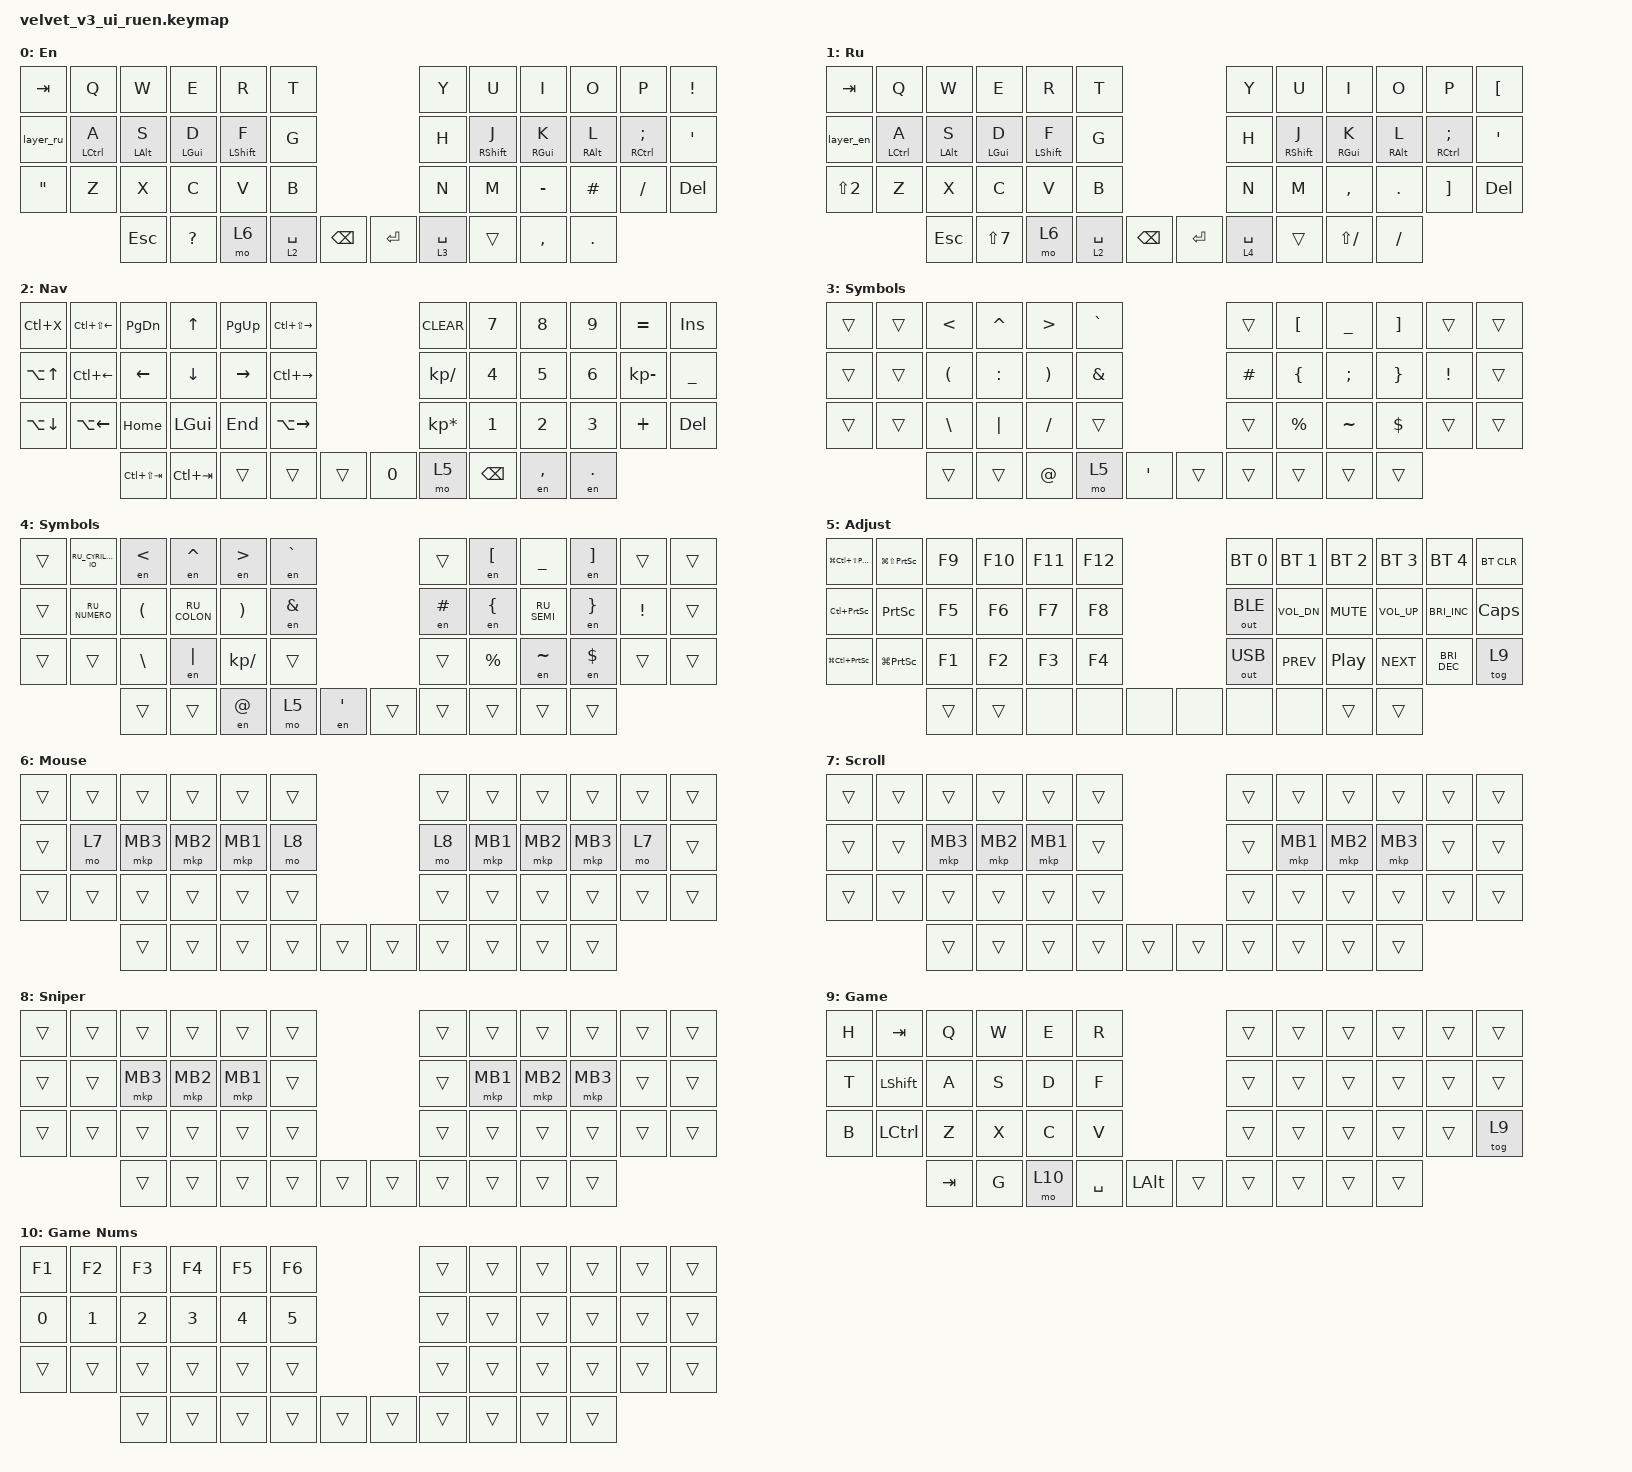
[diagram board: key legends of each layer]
#include "keys_ru.h"
#include <dt-bindings/zmk/input_transform.h>
#include <input/processors.dtsi>
#include <zephyr/dt-bindings/input/input-event-codes.h>
#include <behaviors.dtsi>
#include <dt-bindings/zmk/bt.h>
#include <dt-bindings/zmk/keys.h>
#include <dt-bindings/zmk/outputs.h>
#include <dt-bindings/zmk/pointing.h>

/ {
    behaviors {
        cap_sen: cap_sen {
            compatible = "zmk,behavior-hold-tap";
            label = "CAP_SEN";
            bindings = <&mo>, <&mkp>;

            #binding-cells = <2>;
            tapping-term-ms = <150>;
            hold-while-undecided;
        };

        mouse_layer: mouse_layer {
            compatible = "zmk,behavior-sticky-key";
            label = "MOUSE_LAYER";
            bindings = <&mo>;
            #binding-cells = <1>;
            release-after-ms = <200>;
        };

        hrm: hrm {
            compatible = "zmk,behavior-hold-tap";
            label = "HRM";
            bindings = <&kp>, <&kp>;

            #binding-cells = <2>;
            tapping-term-ms = <200>;
            flavor = "balanced";
            require-prior-idle-ms = <0>;
        };

        scroll: scroll {
            compatible = "zmk,behavior-hold-tap";
            label = "SCROLL";
            bindings = <&mo>, <&tog>;

            #binding-cells = <2>;
            tapping-term-ms = <180>;
            flavor = "tap-preferred";
        };

        mok: mok {
            compatible = "zmk,behavior-hold-tap";
            label = "MOK";
            bindings = <&mo>, <&kp>;

            #binding-cells = <2>;
            tapping-term-ms = <200>;
            flavor = "balanced";
            require-prior-idle-ms = <0>;
        };

        modC: modC {
            compatible = "zmk,behavior-mod-morph";
            label = "MODC";
            bindings = <&kp RU_CYRILLIC_ES>, <&en C>;

            #binding-cells = <0>;
            mods = <(MOD_LCTL|MOD_LSFT|MOD_LALT|MOD_LGUI|MOD_RCTL|MOD_RSFT|MOD_RALT|MOD_RGUI)>;
            keep-mods = <(MOD_LCTL|MOD_LALT|MOD_LSFT|MOD_RCTL|MOD_LGUI|MOD_RSFT|MOD_RALT|MOD_RGUI)>;
        };

        modV: modV {
            compatible = "zmk,behavior-mod-morph";
            label = "MODV";
            bindings = <&kp RU_CYRILLIC_EM>, <&en LC(V)>;

            #binding-cells = <0>;
            mods = <(MOD_LCTL|MOD_LSFT|MOD_LALT|MOD_LGUI|MOD_RCTL|MOD_RSFT|MOD_RALT|MOD_RGUI)>;
        };

        hrmlctrlru: hrmlctrlru {
            compatible = "zmk,behavior-hold-tap";
            label = "HRMLCTRLRU";
            #binding-cells = <2>;
            tapping-term-ms = <200>;
            flavor = "balanced";
            bindings = <&lctrlru>, <&kp>;

            require-prior-idle-ms = <0>;
        };

        hrmlaltru: hrmlaltru {
            compatible = "zmk,behavior-hold-tap";
            label = "HRMLALTRU";
            #binding-cells = <2>;
            tapping-term-ms = <200>;
            flavor = "balanced";
            bindings = <&laltru>, <&kp>;

            require-prior-idle-ms = <0>;
        };

        hrmlguiru: hrmlguiru {
            compatible = "zmk,behavior-hold-tap";
            label = "HRMLGUIRU";
            #binding-cells = <2>;
            tapping-term-ms = <200>;
            flavor = "balanced";
            bindings = <&lguiru>, <&kp>;

            require-prior-idle-ms = <0>;
        };

        hrmlshiftru: hrmlshiftru {
            compatible = "zmk,behavior-hold-tap";
            label = "HRMLSHIFTRU";
            #binding-cells = <2>;
            tapping-term-ms = <200>;
            flavor = "balanced";
            bindings = <&lshiftru>, <&kp>;

            require-prior-idle-ms = <0>;
        };

        zip_auto_mouse: zip_auto_mouse {
            compatible = "zmk,input-processor-temp-layer";
            #input-processor-cells = <2>;
            require-prior-idle-ms = <0>;
            excluded-positions = <>;
        };
    };

    combos { compatible = "zmk,combos"; };

    macros {
        to_ru: to_ru {
            compatible = "zmk,behavior-macro";
            #binding-cells = <0>;
            bindings = <&kp LS(LA(NUMBER_2))>;
            label = "TO_RU";
            wait-ms = <0>;
            tap-ms = <30>;
        };

        to_en: to_en {
            compatible = "zmk,behavior-macro";
            #binding-cells = <0>;
            bindings = <&kp LS(LA(NUMBER_1))>;
            label = "TO_EN";
            wait-ms = <0>;
            tap-ms = <30>;
        };

        layer_en: layer_en {
            compatible = "zmk,behavior-macro";
            #binding-cells = <0>;
            bindings = <&to 0 &to_en>;
            label = "LAYER_EN";
            wait-ms = <0>;
            tap-ms = <30>;
        };

        layer_ru: layer_ru {
            compatible = "zmk,behavior-macro";
            #binding-cells = <0>;
            bindings = <&to 1 &to_ru>;
            label = "LAYER_RU";
            tap-ms = <30>;
            wait-ms = <0>;
        };

        en: en {
            compatible = "zmk,behavior-macro-one-param";
            #binding-cells = <1>;
            bindings =
                <&to_en>,
                <&macro_press>,
                <&macro_param_1to1 &kp MACRO_PLACEHOLDER>,
                <&macro_pause_for_release>,
                <&macro_release>,
                <&macro_param_1to1 &kp MACRO_PLACEHOLDER>,
                <&macro_tap>,
                <&to_ru>;

            label = "EN";
            wait-ms = <0>;
            tap-ms = <30>;
        };

        lctrlru: modru {
            compatible = "zmk,behavior-macro";
            #binding-cells = <0>;
            bindings =
                <&to_en>,
                <&macro_press>,
                <&kp LEFT_CONTROL>,
                <&macro_pause_for_release>,
                <&macro_release>,
                <&kp LEFT_CONTROL>,
                <&macro_tap>,
                <&to_ru>;

            label = "MODRU";
        };

        laltru: laltru {
            compatible = "zmk,behavior-macro";
            #binding-cells = <0>;
            bindings =
                <&to_en>,
                <&macro_press>,
                <&kp LEFT_ALT>,
                <&macro_pause_for_release>,
                <&macro_release>,
                <&kp LEFT_ALT>,
                <&macro_tap>,
                <&to_ru>;

            label = "LALTRU";
        };

        lguiru: lguiru {
            compatible = "zmk,behavior-macro";
            #binding-cells = <0>;
            bindings =
                <&to_en>,
                <&macro_press>,
                <&kp LEFT_GUI>,
                <&macro_pause_for_release>,
                <&macro_release>,
                <&kp LEFT_GUI>,
                <&macro_tap>,
                <&to_ru>;

            label = "LGUIRU";
        };

        lshiftru: lshiftru {
            compatible = "zmk,behavior-macro";
            #binding-cells = <0>;
            bindings =
                <&to_en>,
                <&macro_press>,
                <&kp LEFT_SHIFT>,
                <&macro_pause_for_release>,
                <&macro_release>,
                <&kp LEFT_SHIFT>,
                <&macro_tap>,
                <&to_ru>;

            label = "LSHIFTRU";
        };
    };

    keymap {
        compatible = "zmk,keymap";

        en {
            bindings = <
&kp TAB    &kp Q         &kp W        &kp E         &kp R              &kp T                                      &kp Y         &kp U               &kp I        &kp O        &kp P            &kp EXCLAMATION
&layer_ru  &hrm LCTRL A  &hrm LALT S  &hrm LGUI D   &hrm LEFT_SHIFT F  &kp G                                      &kp H         &hrm RIGHT_SHIFT J  &hrm RGUI K  &hrm RALT L  &hrm RCTRL SEMI  &kp SQT
&kp DQT    &kp Z         &kp X        &kp C         &kp V              &kp B                                      &kp N         &kp M               &kp MINUS    &kp HASH     &kp SLASH        &kp DELETE
                         &kp ESC      &kp QUESTION  &mo 6              &mok 2 SPACE  &kp BACKSPACE    &kp RETURN  &mok 3 SPACE  &trans              &kp COMMA    &kp DOT
            >;

            display-name = "En";
        };

        ru {
            display-name = "Ru";
            bindings = <
&kp TAB           &kp Q         &kp W            &kp E             &kp R              &kp T                                      &kp Y         &kp U               &kp I             &kp O             &kp P              &kp LEFT_BRACKET
&layer_en         &hrm LCTRL A  &hrm LEFT_ALT S  &hrm LEFT_GUI D   &hrm LEFT_SHIFT F  &kp G                                      &kp H         &hrm RIGHT_SHIFT J  &hrm RIGHT_GUI K  &hrm RIGHT_ALT L  &hrm RCTRL SEMI    &kp SQT
&kp LS(NUMBER_2)  &kp Z         &kp X            &kp C             &kp V              &kp B                                      &kp N         &kp M               &kp COMMA         &kp DOT           &kp RIGHT_BRACKET  &kp DELETE
                                &kp ESC          &kp LS(NUMBER_7)  &mo 6              &mok 2 SPACE  &kp BACKSPACE    &kp RETURN  &mok 4 SPACE  &trans              &kp LS(SLASH)     &kp SLASH
            >;
        };

        nav {
            bindings = <
&kp LC(X)           &kp LC(LS(LEFT_ARROW))  &kp PAGE_DOWN    &kp UP          &kp PAGE_UP      &kp LC(LS(RIGHT_ARROW))                    &kp CLEAR        &kp N7         &kp N8     &kp N9   &kp EQUAL     &kp INSERT
&kp LA(UP_ARROW)    &kp LC(LEFT_ARROW)      &kp LEFT_ARROW   &kp DOWN_ARROW  &kp RIGHT_ARROW  &kp LC(RIGHT_ARROW)                        &kp KP_DIVIDE    &kp N4         &kp N5     &kp N6   &kp KP_MINUS  &kp UNDERSCORE
&kp LA(DOWN_ARROW)  &kp LA(LEFT_ARROW)      &kp HOME         &kp LGUI        &kp END          &kp LA(RIGHT_ARROW)                        &kp KP_MULTIPLY  &kp N1         &kp N2     &kp N3   &kp PLUS      &kp DELETE
                                            &kp LC(LS(TAB))  &kp LC(TAB)     &trans           &trans                   &trans    &kp N0  &mo 5            &kp BACKSPACE  &en COMMA  &en DOT
            >;

            display-name = "Nav";
        };

        sym_en {
            bindings = <
&trans  &trans  &kp LT         &kp CARET  &kp GT    &kp GRAVE                     &trans    &kp LBKT     &kp UNDER  &kp RBKT  &trans    &trans
&trans  &trans  &kp LPAR       &kp COLON  &kp RPAR  &kp AMPS                      &kp HASH  &kp LBRC     &kp SEMI   &kp RBRC  &kp EXCL  &trans
&trans  &trans  &kp BACKSLASH  &kp PIPE   &kp FSLH  &trans                        &trans    &kp PERCENT  &kp TILDE  &kp DLLR  &trans    &trans
                &trans         &trans     &kp AT    &mo 5      &kp SQT    &trans  &trans    &trans       &trans     &trans
            >;

            display-name = "Symbols";
        };

        sym_ru {
            display-name = "Symbols";
            bindings = <
&trans  &kp RU_CYRILLIC_IO  &en LT         &en CARET     &en GT         &en GRAVE                     &trans    &en LBKT     &kp UNDER    &en RBKT  &trans    &trans
&trans  &kp RU_NUMERO       &kp LPAR       &kp RU_COLON  &kp RPAR       &en AMPS                      &en HASH  &en LBRC     &kp RU_SEMI  &en RBRC  &kp EXCL  &trans
&trans  &trans              &kp BACKSLASH  &en PIPE      &kp KP_DIVIDE  &trans                        &trans    &kp PERCENT  &en TILDE    &en DLLR  &trans    &trans
                            &trans         &trans        &en AT         &mo 5      &en SQT    &trans  &trans    &trans       &trans       &trans
            >;
        };

        adj {
            bindings = <
&kp LG(LC(LS(PRINTSCREEN)))  &kp LG(LS(PRINTSCREEN))  &kp F9  &kp F10  &kp F11  &kp F12                  &bt BT_SEL 0  &bt BT_SEL 1  &bt BT_SEL 2      &bt BT_SEL 3  &bt BT_SEL 4          &bt BT_CLR
&kp LC(PRINTSCREEN)          &kp PRINTSCREEN          &kp F5  &kp F6   &kp F7   &kp F8                   &out OUT_BLE  &kp C_VOL_DN  &kp C_MUTE        &kp C_VOL_UP  &kp C_BRIGHTNESS_INC  &kp CAPSLOCK
&kp LG(LC(PRINTSCREEN))      &kp LG(PRINTSCREEN)      &kp F1  &kp F2   &kp F3   &kp F4                   &out OUT_USB  &kp C_PREV    &kp C_PLAY_PAUSE  &kp C_NEXT    &kp C_BRIGHTNESS_DEC  &tog 9
                                                      &trans  &trans   &none    &none    &none    &none  &none         &none         &trans            &trans
            >;

            display-name = "Adjust";
        };

        mouse {
            bindings = <
&trans  &trans  &trans    &trans    &trans    &trans                    &trans  &trans    &trans    &trans    &trans  &trans
&trans  &mo 7   &mkp MB3  &mkp MB2  &mkp MB1  &mo 8                     &mo 8   &mkp MB1  &mkp MB2  &mkp MB3  &mo 7   &trans
&trans  &trans  &trans    &trans    &trans    &trans                    &trans  &trans    &trans    &trans    &trans  &trans
                &trans    &trans    &trans    &trans  &trans    &trans  &trans  &trans    &trans    &trans
            >;

            display-name = "Mouse";
        };

        scroll {
            bindings = <
&trans  &trans  &trans    &trans    &trans    &trans                    &trans  &trans    &trans    &trans    &trans  &trans
&trans  &trans  &mkp MB3  &mkp MB2  &mkp MB1  &trans                    &trans  &mkp MB1  &mkp MB2  &mkp MB3  &trans  &trans
&trans  &trans  &trans    &trans    &trans    &trans                    &trans  &trans    &trans    &trans    &trans  &trans
                &trans    &trans    &trans    &trans  &trans    &trans  &trans  &trans    &trans    &trans
            >;

            display-name = "Scroll";
        };

        sniper {
            bindings = <
&trans  &trans  &trans    &trans    &trans    &trans                    &trans  &trans    &trans    &trans    &trans  &trans
&trans  &trans  &mkp MB3  &mkp MB2  &mkp MB1  &trans                    &trans  &mkp MB1  &mkp MB2  &mkp MB3  &trans  &trans
&trans  &trans  &trans    &trans    &trans    &trans                    &trans  &trans    &trans    &trans    &trans  &trans
                &trans    &trans    &trans    &trans  &trans    &trans  &trans  &trans    &trans    &trans
            >;

            display-name = "Sniper";
        };

        game {
            bindings = <
&kp H  &kp TAB         &kp Q    &kp W  &kp E   &kp R                              &trans  &trans  &trans  &trans  &trans  &trans
&kp T  &kp LEFT_SHIFT  &kp A    &kp S  &kp D   &kp F                              &trans  &trans  &trans  &trans  &trans  &trans
&kp B  &kp LCTRL       &kp Z    &kp X  &kp C   &kp V                              &trans  &trans  &trans  &trans  &trans  &tog 9
                       &kp TAB  &kp G  &mo 10  &kp SPACE  &kp LEFT_ALT    &trans  &trans  &trans  &trans  &trans
            >;

            label = "Game";
        };

        gamenums {
            bindings = <
&kp F1  &kp F2  &kp F3  &kp F4  &kp F5  &kp F6                    &trans  &trans  &trans  &trans  &trans  &trans
&kp N0  &kp N1  &kp N2  &kp N3  &kp N4  &kp N5                    &trans  &trans  &trans  &trans  &trans  &trans
&trans  &trans  &trans  &trans  &trans  &trans                    &trans  &trans  &trans  &trans  &trans  &trans
                &trans  &trans  &trans  &trans  &trans    &trans  &trans  &trans  &trans  &trans
            >;

            label = "Game Nums";
        };
    };
};

// PMW3610 accepts 200..3200 CPI in steps of 200; anything else fails sensor init.
// CPI is applied by the right half firmware (the sensor lives there); the
// scalers below are applied by the central (right half, or qube dongle).
&trackball { cpi = <1000>; };

&trackball_listener {
    input-processors = <&zip_xy_scaler 9 10>;

    scroller {
        layers = <7>;
        input-processors =
            <&zip_xy_transform INPUT_TRANSFORM_Y_INVERT>,
            <&zip_xy_scaler 1 96>,
            <&zip_xy_to_scroll_mapper>;
    };

    sniper {
        layers = <8>;
        input-processors = <&zip_xy_scaler 1 4>;
    };
};
